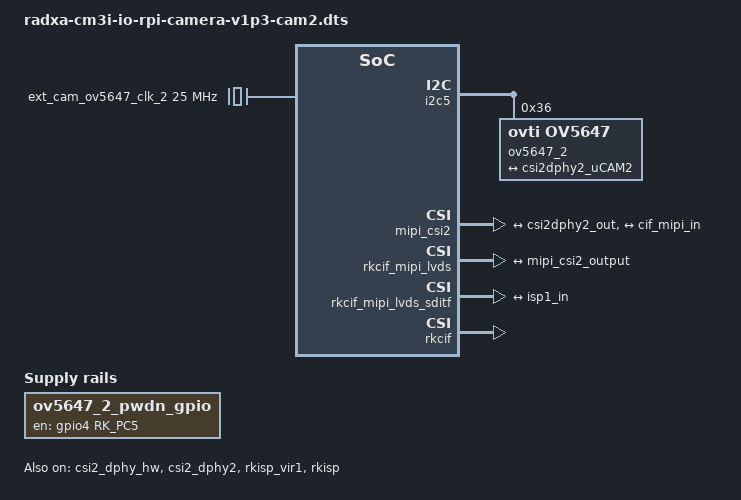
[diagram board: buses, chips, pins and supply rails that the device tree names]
/dts-v1/;
/plugin/;

#include <dt-bindings/gpio/gpio.h>
#include <dt-bindings/pinctrl/rockchip.h>

/ {
	metadata {
		title = "Enable Raspberry Pi Camera v1.3 on CAM2";
		compatible = "radxa,cm3i-io";
		category = "camera";
		exclusive = "csi2_dphy2";
		description = "Enable Raspberry Pi Camera v1.3 on CAM2.";
	};
};

&{/} {
	ext_cam_ov5647_clk_2: ext-cam-ov5647-clk-2 {
		status = "okay";
		compatible = "fixed-clock";
		clock-frequency = <25000000>;
		clock-output-names = "ext_cam_ov5647_clk_2";
		#clock-cells = <0>;
	};

	ov5647_2_pwdn_gpio: ov5647-2-pwdn-gpio {
		status = "okay";
		compatible = "regulator-fixed";
		regulator-name = "ov5647_2_pwdn_gpio";
		regulator-always-on;
		regulator-boot-on;
		enable-active-high;
		gpio = <&gpio4 RK_PC5 GPIO_ACTIVE_LOW>;
	};
};

&i2c5 {
	status = "okay";
	pinctrl-names = "default";
	pinctrl-0 = <&i2c5m0_xfer>;

	#address-cells = <1>;
	#size-cells = <0>;
	ov5647_2: ov5647-2@36 {
		status = "okay";
		compatible = "ovti,ov5647";
		reg = <0x36>;
		clocks = <&ext_cam_ov5647_clk_2>;
		clock-names = "xvclk";
		rockchip,camera-module-index = <1>;
		rockchip,camera-module-facing = "back";
		rockchip,camera-module-name = "rpi-camera-v1p3";
		rockchip,camera-module-lens-name = "default";

		port {
			ov5647_2_out: endpoint {
				remote-endpoint = <&csi2dphy2_uCAM2>;
				data-lanes = <1 2>;
			};
		};
	};
};

&csi2_dphy_hw {
	status = "okay";
};

&csi2_dphy2 {
	status = "okay";
	ports {
		#address-cells = <1>;
		#size-cells = <0>;
		port@0 {
			reg = <0>;
			#address-cells = <1>;
			#size-cells = <0>;

			csi2dphy2_uCAM2: endpoint@1 {
				reg = <1>;
				remote-endpoint = <&ov5647_2_out>;
				data-lanes = <1 2>;
			};
		};

		port@1 {
			reg = <1>;
			#address-cells = <1>;
			#size-cells = <0>;

			csi2dphy2_out: endpoint@1 {
				reg = <1>;
				remote-endpoint = <&mipi_csi2_input>;
			};
		};
	};
};

&mipi_csi2 {
	status = "okay";
	ports {
		#address-cells = <1>;
		#size-cells = <0>;

		port@0 {
			reg = <0>;
			#address-cells = <1>;
			#size-cells = <0>;

			mipi_csi2_input: endpoint@1 {
				reg = <1>;
				remote-endpoint = <&csi2dphy2_out>;
				data-lanes = <1 2>;
			};
		};

		port@1 {
			reg = <1>;
			#address-cells = <1>;
			#size-cells = <0>;
			mipi_csi2_output: endpoint@0 {
				reg = <0>;
				remote-endpoint = <&cif_mipi_in>;
				data-lanes = <1 2>;
			};
		};
	};
};

&rkcif_mipi_lvds {
	status = "okay";
	port {
		cif_mipi_in: endpoint {
			remote-endpoint = <&mipi_csi2_output>;
			data-lanes = <1 2>;
		};
	};
};

&rkcif_mipi_lvds_sditf {
	status = "okay";
	port {
		mipi_lvds_sditf: endpoint {
			remote-endpoint = <&isp1_in>;
			data-lanes = <1 2>;
		};
	};
};

&rkisp_vir1 {
	status = "okay";

	port {
		#address-cells = <1>;
		#size-cells = <0>;

		isp1_in: endpoint@0 {
			reg = <0>;
			remote-endpoint = <&mipi_lvds_sditf>;
		};
	};
};

&rkisp {
	status = "okay";
};

&rkisp_mmu {
	status = "okay";
};

&rkcif_mmu {
	status = "okay";
};

&rkcif {
	status = "okay";
};
